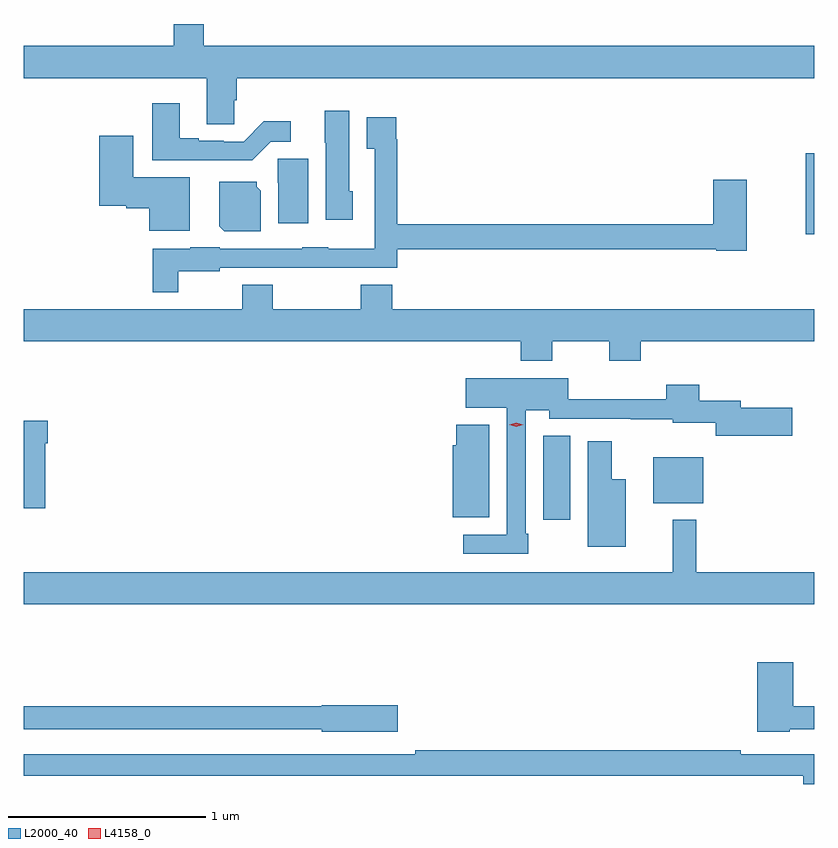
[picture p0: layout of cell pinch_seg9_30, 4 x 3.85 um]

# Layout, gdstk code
import gdstk
lib = gdstk.Library(unit=1e-6, precision=1e-09)
def R(c, l, rs):  # rectangles x0, y0, x1, y1
    for r in rs: c.add(gdstk.rectangle(r[:2], r[2:], *l))
def P(c, l, *ps):  # polygons
    for p in ps: c.add(gdstk.Polygon(p, *l))
L2000_40 = (2000, 40)
L4158_0 = (4158, 0)

pinch_seg9_30 = lib.new_cell('pinch_seg9_30')
R(pinch_seg9_30, L2000_40, [(929.261,1226.154,929.398,1226.579), (929.819,1226.237,930.07,1226.47), (930.59,1227.599,930.632,1228.009)])
P(pinch_seg9_30, L2000_40, [(927.696,1228.278),(927.71,1228.278),(927.71,1228.388),(930.632,1228.388),(930.632,1228.552),(927.541,1228.552),(927.541,1228.663),(927.402,1228.663),(927.402,1228.662),(927.389,1228.662),(927.389,1228.552),(926.632,1228.552),(926.632,1228.388),(927.557,1228.388),(927.557,1228.156),(927.696,1228.156)],
  [(927.882,1228.068),(927.982,1228.068),(927.982,1228.171),(927.847,1228.171),(927.744,1228.068),(927.644,1228.068),(927.644,1228.071),(927.517,1228.071),(927.517,1228.084),(927.421,1228.084),(927.421,1228.261),(927.281,1228.261),(927.281,1227.974),(927.788,1227.974)],
  [(928.297,1227.816),(928.279,1227.816),(928.279,1228.225),(928.154,1228.225),(928.154,1228.062),(928.16,1228.062),(928.16,1227.672),(928.297,1227.672)],
  [(927.412,1227.41),(927.624,1227.41),(927.624,1227.429),(928.041,1227.429),(928.041,1227.428),(928.273,1227.428),(928.273,1227.429),(928.523,1227.429),(928.523,1227.522),(930.138,1227.522),(930.138,1227.514),(930.292,1227.514),(930.292,1227.874),(930.122,1227.874),(930.122,1227.65),(928.523,1227.65),(928.523,1228.079),(928.516,1228.079),(928.516,1228.192),(928.367,1228.192),(928.367,1228.031),(928.407,1228.031),(928.407,1227.526),(928.173,1227.526),(928.173,1227.532),(928.041,1227.532),(928.041,1227.525),(927.624,1227.525),(927.624,1227.532),(927.474,1227.532),(927.474,1227.526),(927.283,1227.526),(927.283,1227.305),(927.412,1227.305)],
  [(927.472,1227.886),(927.184,1227.886),(927.184,1228.096),(927.014,1228.096),(927.014,1227.743),(927.15,1227.743),(927.15,1227.731),(927.266,1227.731),(927.266,1227.617),(927.472,1227.617)],
  [(928.072,1227.981),(927.916,1227.981),(927.916,1227.858),(927.92,1227.858),(927.92,1227.654),(928.072,1227.654)],
  [(927.832,1227.818),(927.81,1227.84),(927.81,1227.865),(927.62,1227.865),(927.62,1227.64),(927.646,1227.614),(927.832,1227.614)],
  [(929.307,1227.056),(929.596,1227.056),(929.596,1226.957),(929.756,1226.957),(929.756,1227.056),(930.632,1227.056),(930.632,1227.22),(928.496,1227.22),(928.496,1227.344),(928.336,1227.344),(928.336,1227.22),(927.891,1227.22),(927.891,1227.344),(927.736,1227.344),(927.736,1227.22),(926.632,1227.22),(926.632,1227.056),(929.147,1227.056),(929.147,1226.957),(929.307,1226.957)],
  [(929.185,1226.083),(929.172,1226.083),(929.172,1226.708),(929.292,1226.708),(929.292,1226.664),(929.704,1226.664),(929.704,1226.663),(929.916,1226.663),(929.916,1226.645),(930.134,1226.645),(930.134,1226.579),(930.523,1226.579),(930.523,1226.721),(930.262,1226.721),(930.262,1226.755),(930.05,1226.755),(930.05,1226.836),(929.885,1226.836),(929.885,1226.762),(929.388,1226.762),(929.388,1226.869),(928.869,1226.869),(928.869,1226.72),(929.076,1226.72),(929.076,1226.076),(928.857,1226.076),(928.857,1225.98),(929.185,1225.98)],
  [(926.74,1226.54),(926.753,1226.54),(926.753,1226.653),(926.632,1226.653),(926.632,1226.211),(926.74,1226.211)],
  [(928.987,1226.635),(928.82,1226.635),(928.82,1226.529),(928.802,1226.529),(928.802,1226.165),(928.987,1226.165)],
  [(929.68,1226.359),(929.608,1226.359),(929.608,1226.551),(929.486,1226.551),(929.486,1226.015),(929.68,1226.015)],
  [(930.632,1225.888),(930.035,1225.888),(930.035,1226.152),(929.917,1226.152),(929.917,1225.888),(926.632,1225.888),(926.632,1225.724),(930.632,1225.724)],
  [(930.51,1225.092),(930.632,1225.092),(930.632,1225.208),(930.527,1225.208),(930.527,1225.432),(930.344,1225.432),(930.344,1225.079),(930.51,1225.079)],
  [(928.525,1225.214),(928.14,1225.214),(928.14,1225.208),(926.632,1225.208),(926.632,1225.092),(928.14,1225.092),(928.14,1225.079),(928.525,1225.079)],
  [(930.632,1224.966),(930.26,1224.966),(930.26,1224.986),(928.612,1224.986),(928.612,1224.966),(926.632,1224.966),(926.632,1224.858),(930.578,1224.858),(930.578,1224.815),(930.632,1224.815)])
P(pinch_seg9_30, L4158_0, [(929.125,1226.623),(929.09,1226.633),(929.09,1226.633),(929.09,1226.634),(929.125,1226.643),(929.159,1226.634),(929.16,1226.633),(929.159,1226.633)])

lib.write_gds('pinch_seg9_30.gds')
